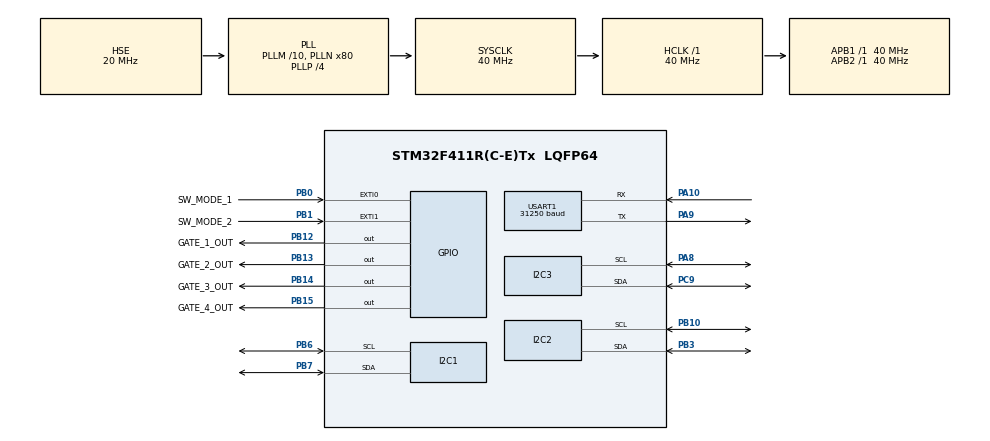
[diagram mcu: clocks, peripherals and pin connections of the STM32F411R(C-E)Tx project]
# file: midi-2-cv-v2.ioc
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I2C1.I2C_Mode=I2C_Fast
Mcu.Family=STM32F4
Mcu.Name=STM32F411R(C-E)Tx
Mcu.Package=LQFP64
NVIC.EXTI0_IRQn=true\:0\:0\:false\:false\:true\:true\:true\:true
NVIC.EXTI1_IRQn=true\:0\:0\:false\:false\:true\:true\:true\:true
NVIC.PriorityGroup=NVIC_PRIORITYGROUP_4
NVIC.RCC_IRQn=true\:0\:0\:false\:false\:true\:true\:false\:true
NVIC.USART1_IRQn=true\:0\:0\:false\:false\:true\:true\:true\:true
PA10.Mode=Asynchronous
PA10.Signal=USART1_RX
PA13.Mode=Serial_Wire
PA13.Signal=SYS_JTMS-SWDIO
PA14.Mode=Serial_Wire
PA14.Signal=SYS_JTCK-SWCLK
PA8.GPIO_Pu=GPIO_PULLUP
PA8.Mode=I2C
PA8.Signal=I2C3_SCL
PA9.Mode=Asynchronous
PA9.Signal=USART1_TX
PB0.GPIO_Label=SW_MODE_1
PB0.GPIO_ModeDefaultEXTI=GPIO_MODE_IT_FALLING
PB0.GPIO_PuPd=GPIO_PULLUP
PB0.Signal=GPXTI0
PB1.GPIO_Label=SW_MODE_2
PB1.GPIO_ModeDefaultEXTI=GPIO_MODE_IT_FALLING
PB1.GPIO_PuPd=GPIO_PULLUP
PB1.Signal=GPXTI1
PB10.GPIO_Pu=GPIO_PULLUP
PB10.Mode=I2C
PB10.Signal=I2C2_SCL
PB12.GPIO_Label=GATE_1_OUT
PB12.GPIO_Speed=GPIO_SPEED_FREQ_MEDIUM
PB12.Signal=GPIO_Output
PB13.GPIO_Label=GATE_2_OUT
PB13.Signal=GPIO_Output
PB14.GPIO_Label=GATE_3_OUT
PB14.Signal=GPIO_Output
PB15.GPIO_Label=GATE_4_OUT
PB15.Signal=GPIO_Output
PB3.GPIO_Pu=GPIO_PULLUP
PB3.Mode=I2C
PB3.Signal=I2C2_SDA
PB6.GPIO_Pu=GPIO_PULLUP
PB6.Mode=I2C
PB6.Signal=I2C1_SCL
PB7.GPIO_Pu=GPIO_PULLUP
PB7.Mode=I2C
PB7.Signal=I2C1_SDA
PC9.GPIO_Pu=GPIO_PULLUP
PC9.Mode=I2C
PC9.Signal=I2C3_SDA
PH0\ -\ OSC_IN.Mode=HSE-External-Oscillator
PH0\ -\ OSC_IN.Signal=RCC_OSC_IN
PH1\ -\ OSC_OUT.Mode=HSE-External-Oscillator
PH1\ -\ OSC_OUT.Signal=RCC_OSC_OUT
ProjectManager.HeapSize=0x200
ProjectManager.StackSize=0x400
ProjectManager.TargetToolchain=STM32CubeIDE
RCC.48MHZClocksFreq_Value=40000000
RCC.AHBFreq_Value=40000000
RCC.APB1Freq_Value=40000000
RCC.APB1TimFreq_Value=40000000
RCC.APB2Freq_Value=40000000
RCC.APB2TimFreq_Value=40000000
RCC.CortexFreq_Value=40000000
RCC.HCLKFreq_Value=40000000
RCC.HSE_VALUE=20000000
RCC.HSI_VALUE=16000000
RCC.LSE_VALUE=32768
RCC.PLLM=10
RCC.PLLN=80
RCC.PLLP=RCC_PLLP_DIV4
RCC.PLLSourceVirtual=RCC_PLLSOURCE_HSE
RCC.SYSCLKFreq_VALUE=40000000
RCC.SYSCLKSource=RCC_SYSCLKSOURCE_PLLCLK
RCC.VCOOutputFreq_Value=160000000
USART1.BaudRate=31250
USART1.Mode=MODE_TX_RX
USART1.VirtualMode=VM_ASYNC
VP_RTC_VS_RTC_Activate.Mode=RTC_Enabled
VP_TIM1_VS_ClockSourceINT.Mode=Internal
board=custom

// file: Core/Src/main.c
/* USER CODE BEGIN Header */
/**
  ******************************************************************************
  * @file           : main.c
  * @brief          : Main program body
  ******************************************************************************
  * @attention
  *
  * Copyright (c) 2025 STMicroelectronics.
  * All rights reserved.
  *
  * This software is licensed under terms that can be found in the LICENSE file
  * in the root directory of this software component.
  * If no LICENSE file comes with this software, it is provided AS-IS.
  *
  ******************************************************************************
  */
/* USER CODE END Header */
#include "main.h"

/* USER CODE BEGIN Includes */
#include <sys/types.h>

#include "app/mcp4728.h"
#include "app/midi_handler.h"
#include "app/midi_processor.h"

/* USER CODE END Includes */

I2C_HandleTypeDef hi2c1;
I2C_HandleTypeDef hi2c2;
I2C_HandleTypeDef hi2c3;

RTC_HandleTypeDef hrtc;

TIM_HandleTypeDef htim1;

UART_HandleTypeDef huart1;

/* USER CODE BEGIN PV */

uint8_t midi_received_buf;
struct MIDI_PROCESSOR_config midi_processor_config;

/* USER CODE END PV */

void SystemClock_Config(void);
static void MX_GPIO_Init(void);
static void MX_I2C1_Init(void);
static void MX_I2C2_Init(void);
static void MX_I2C3_Init(void);
static void MX_USART1_UART_Init(void);
static void MX_RTC_Init(void);
static void MX_TIM1_Init(void);

/* USER CODE BEGIN 0 */

/*
 * This is the interrupt handler. Make sure that the USART global interrupt is enabled in the IOC
 */
void HAL_UART_RxCpltCallback(UART_HandleTypeDef* huart)
{
    if (huart->Instance == huart1.Instance)
    {
        MIDI_HANDLER_push_buffer(&midi_received_buf);
        HAL_UART_Receive_IT(&huart1, &midi_received_buf, 1);
    }
}

void HAL_GPIO_EXTI_Callback(uint16_t GPIO_Pin)
{
    MIDI_PROCESSOR_mode_changed();

    if (EXTI->PR & EXTI_PR_PR0)
    {
        // Clear the EXTI pending bit
        EXTI->PR = EXTI_PR_PR0;
    }
}

/* USER CODE END 0 */

int main(void)
{

  /* MCU Configuration--------------------------------------------------------*/

  /* Reset of all peripherals, Initializes the Flash interface and the Systick. */
  HAL_Init();

  /* Configure the system clock */
  SystemClock_Config();

  /* Initialize all configured peripherals */
  MX_GPIO_Init();
  MX_I2C1_Init();
  MX_I2C2_Init();
  MX_I2C3_Init();
  MX_USART1_UART_Init();
  MX_RTC_Init();
  MX_TIM1_Init();
  /* USER CODE BEGIN 2 */

    // Delay to let things settle before user init
    HAL_Delay(250);

    /*
     * Initialize all the I2C devices for DAC
    */
    if (HAL_I2C_Init(&hi2c1) != HAL_OK)
    {
        Error_Handler();
    }
    if (HAL_I2C_Init(&hi2c2) != HAL_OK)
    {
        Error_Handler();
    }
    if (HAL_I2C_Init(&hi2c3) != HAL_OK)
    {
        Error_Handler();
    }

    /*
     * Set up the MIDI Handler that will process all incoming MIDI messages and convert them into MIDI events
     */
    Buffer rx_buffer;

    struct MIDI_HANDLER_config midi_handler_config;
    midi_handler_config.buffer = &rx_buffer;

    MIDI_HANDLER_init(&midi_handler_config);

    /*
     * Set up the MIDI Processor, that will convert the midi event into output over the DAC/Gates
     */
    midi_processor_config.cv_dac1 = &hi2c1;
    midi_processor_config.vel_dac2 = &hi2c2;
    midi_processor_config.mod_dac3 = &hi2c3;
    midi_processor_config.mode = MIDI_MODE_POLY;
    midi_processor_config.available_channels = 0b00001111;

    MIDI_PROCESSOR_init(&midi_processor_config);

  /* USER CODE END 2 */

  /* Infinite loop */
  /* USER CODE BEGIN WHILE */

    // Start the first receive operation
    HAL_UART_Receive_IT(&huart1, &midi_received_buf, 1);

    // Delay to let things set up
    HAL_Delay(250);

    MIDI_PROCESSOR_mode_changed();

    HAL_Delay(10);

    while (1)
    {
        // initialize a midi_event
        MIDI_event midi_event;

    /* USER CODE END WHILE */

    /* USER CODE BEGIN 3 */

        // if there is an event
        if (MIDI_HANDLER_get_event(&midi_event) > 0)
        {
            // process the midi event
            MIDI_PROCESSOR_handle_event(&midi_event);
            // short delay to ensure all events got settled
            HAL_Delay(1);
        }
    }
  /* USER CODE END 3 */
}

void SystemClock_Config(void)
{
  RCC_OscInitTypeDef RCC_OscInitStruct = {0};
  RCC_ClkInitTypeDef RCC_ClkInitStruct = {0};

  /** Configure the main internal regulator output voltage
  */
  __HAL_RCC_PWR_CLK_ENABLE();
  __HAL_PWR_VOLTAGESCALING_CONFIG(PWR_REGULATOR_VOLTAGE_SCALE1);

  /** Initializes the RCC Oscillators according to the specified parameters
  * in the RCC_OscInitTypeDef structure.
  */
  RCC_OscInitStruct.OscillatorType = RCC_OSCILLATORTYPE_LSI|RCC_OSCILLATORTYPE_HSE;
  RCC_OscInitStruct.HSEState = RCC_HSE_ON;
  RCC_OscInitStruct.LSIState = RCC_LSI_ON;
  RCC_OscInitStruct.PLL.PLLState = RCC_PLL_ON;
  RCC_OscInitStruct.PLL.PLLSource = RCC_PLLSOURCE_HSE;
  RCC_OscInitStruct.PLL.PLLM = 10;
  RCC_OscInitStruct.PLL.PLLN = 80;
  RCC_OscInitStruct.PLL.PLLP = RCC_PLLP_DIV4;
  RCC_OscInitStruct.PLL.PLLQ = 4;
  if (HAL_RCC_OscConfig(&RCC_OscInitStruct) != HAL_OK)
  {
    Error_Handler();
  }

  /** Initializes the CPU, AHB and APB buses clocks
  */
  RCC_ClkInitStruct.ClockType = RCC_CLOCKTYPE_HCLK|RCC_CLOCKTYPE_SYSCLK
                              |RCC_CLOCKTYPE_PCLK1|RCC_CLOCKTYPE_PCLK2;
  RCC_ClkInitStruct.SYSCLKSource = RCC_SYSCLKSOURCE_PLLCLK;
  RCC_ClkInitStruct.AHBCLKDivider = RCC_SYSCLK_DIV1;
  RCC_ClkInitStruct.APB1CLKDivider = RCC_HCLK_DIV1;
  RCC_ClkInitStruct.APB2CLKDivider = RCC_HCLK_DIV1;

  if (HAL_RCC_ClockConfig(&RCC_ClkInitStruct, FLASH_LATENCY_1) != HAL_OK)
  {
    Error_Handler();
  }
}

static void MX_I2C1_Init(void)
{

  hi2c1.Instance = I2C1;
  hi2c1.Init.ClockSpeed = 400000;
  hi2c1.Init.DutyCycle = I2C_DUTYCYCLE_2;
  hi2c1.Init.OwnAddress1 = 0;
  hi2c1.Init.AddressingMode = I2C_ADDRESSINGMODE_7BIT;
  hi2c1.Init.DualAddressMode = I2C_DUALADDRESS_DISABLE;
  hi2c1.Init.OwnAddress2 = 0;
  hi2c1.Init.GeneralCallMode = I2C_GENERALCALL_DISABLE;
  hi2c1.Init.NoStretchMode = I2C_NOSTRETCH_DISABLE;
  if (HAL_I2C_Init(&hi2c1) != HAL_OK)
  {
    Error_Handler();
  }

}

static void MX_I2C2_Init(void)
{

  hi2c2.Instance = I2C2;
  hi2c2.Init.ClockSpeed = 100000;
  hi2c2.Init.DutyCycle = I2C_DUTYCYCLE_2;
  hi2c2.Init.OwnAddress1 = 0;
  hi2c2.Init.AddressingMode = I2C_ADDRESSINGMODE_7BIT;
  hi2c2.Init.DualAddressMode = I2C_DUALADDRESS_DISABLE;
  hi2c2.Init.OwnAddress2 = 0;
  hi2c2.Init.GeneralCallMode = I2C_GENERALCALL_DISABLE;
  hi2c2.Init.NoStretchMode = I2C_NOSTRETCH_DISABLE;
  if (HAL_I2C_Init(&hi2c2) != HAL_OK)
  {
    Error_Handler();
  }

}

static void MX_I2C3_Init(void)
{

  hi2c3.Instance = I2C3;
  hi2c3.Init.ClockSpeed = 100000;
  hi2c3.Init.DutyCycle = I2C_DUTYCYCLE_2;
  hi2c3.Init.OwnAddress1 = 0;
  hi2c3.Init.AddressingMode = I2C_ADDRESSINGMODE_7BIT;
  hi2c3.Init.DualAddressMode = I2C_DUALADDRESS_DISABLE;
  hi2c3.Init.OwnAddress2 = 0;
  hi2c3.Init.GeneralCallMode = I2C_GENERALCALL_DISABLE;
  hi2c3.Init.NoStretchMode = I2C_NOSTRETCH_DISABLE;
  if (HAL_I2C_Init(&hi2c3) != HAL_OK)
  {
    Error_Handler();
  }

}

static void MX_RTC_Init(void)
{

  /** Initialize RTC Only
  */
  hrtc.Instance = RTC;
  hrtc.Init.HourFormat = RTC_HOURFORMAT_24;
  hrtc.Init.AsynchPrediv = 127;
  hrtc.Init.SynchPrediv = 255;
  hrtc.Init.OutPut = RTC_OUTPUT_DISABLE;
  hrtc.Init.OutPutPolarity = RTC_OUTPUT_POLARITY_HIGH;
  hrtc.Init.OutPutType = RTC_OUTPUT_TYPE_OPENDRAIN;
  if (HAL_RTC_Init(&hrtc) != HAL_OK)
  {
    Error_Handler();
  }

}

static void MX_TIM1_Init(void)
{

  TIM_ClockConfigTypeDef sClockSourceConfig = {0};
  TIM_MasterConfigTypeDef sMasterConfig = {0};

  htim1.Instance = TIM1;
  htim1.Init.Prescaler = 0;
  htim1.Init.CounterMode = TIM_COUNTERMODE_UP;
  htim1.Init.Period = 65535;
  htim1.Init.ClockDivision = TIM_CLOCKDIVISION_DIV1;
  htim1.Init.RepetitionCounter = 0;
  htim1.Init.AutoReloadPreload = TIM_AUTORELOAD_PRELOAD_DISABLE;
  if (HAL_TIM_Base_Init(&htim1) != HAL_OK)
  {
    Error_Handler();
  }
  sClockSourceConfig.ClockSource = TIM_CLOCKSOURCE_INTERNAL;
  if (HAL_TIM_ConfigClockSource(&htim1, &sClockSourceConfig) != HAL_OK)
  {
    Error_Handler();
  }
  sMasterConfig.MasterOutputTrigger = TIM_TRGO_RESET;
  sMasterConfig.MasterSlaveMode = TIM_MASTERSLAVEMODE_DISABLE;
  if (HAL_TIMEx_MasterConfigSynchronization(&htim1, &sMasterConfig) != HAL_OK)
  {
    Error_Handler();
  }

}

static void MX_USART1_UART_Init(void)
{

  huart1.Instance = USART1;
  huart1.Init.BaudRate = 31250;
  huart1.Init.WordLength = UART_WORDLENGTH_8B;
  huart1.Init.StopBits = UART_STOPBITS_1;
  huart1.Init.Parity = UART_PARITY_NONE;
  huart1.Init.Mode = UART_MODE_TX_RX;
  huart1.Init.HwFlowCtl = UART_HWCONTROL_NONE;
  huart1.Init.OverSampling = UART_OVERSAMPLING_16;
  if (HAL_UART_Init(&huart1) != HAL_OK)
  {
    Error_Handler();
  }
  /* USER CODE BEGIN USART1_Init 2 */

    // Enable USART2 interrupt
    HAL_NVIC_EnableIRQ(USART2_IRQn);

    // Enable UART receive interrupt
    __HAL_UART_ENABLE_IT(&huart1, UART_IT_RXNE);

  /* USER CODE END USART1_Init 2 */

}

static void MX_GPIO_Init(void)
{
  GPIO_InitTypeDef GPIO_InitStruct = {0};

  /* GPIO Ports Clock Enable */
  __HAL_RCC_GPIOH_CLK_ENABLE();
  __HAL_RCC_GPIOB_CLK_ENABLE();
  __HAL_RCC_GPIOC_CLK_ENABLE();
  __HAL_RCC_GPIOA_CLK_ENABLE();

  /*Configure GPIO pin Output Level */
  HAL_GPIO_WritePin(GPIOB, GATE_1_OUT_Pin|GATE_2_OUT_Pin|GATE_3_OUT_Pin|GATE_4_OUT_Pin, GPIO_PIN_RESET);

  /*Configure GPIO pins : SW_MODE_1_Pin SW_MODE_2_Pin */
  GPIO_InitStruct.Pin = SW_MODE_1_Pin|SW_MODE_2_Pin;
  GPIO_InitStruct.Mode = GPIO_MODE_IT_RISING_FALLING;
  GPIO_InitStruct.Pull = GPIO_PULLUP;
  HAL_GPIO_Init(GPIOB, &GPIO_InitStruct);

  /*Configure GPIO pin : GATE_1_OUT_Pin */
  GPIO_InitStruct.Pin = GATE_1_OUT_Pin;
  GPIO_InitStruct.Mode = GPIO_MODE_OUTPUT_PP;
  GPIO_InitStruct.Pull = GPIO_NOPULL;
  GPIO_InitStruct.Speed = GPIO_SPEED_FREQ_MEDIUM;
  HAL_GPIO_Init(GATE_1_OUT_GPIO_Port, &GPIO_InitStruct);

  /*Configure GPIO pins : GATE_2_OUT_Pin GATE_3_OUT_Pin GATE_4_OUT_Pin */
  GPIO_InitStruct.Pin = GATE_2_OUT_Pin|GATE_3_OUT_Pin|GATE_4_OUT_Pin;
  GPIO_InitStruct.Mode = GPIO_MODE_OUTPUT_PP;
  GPIO_InitStruct.Pull = GPIO_NOPULL;
  GPIO_InitStruct.Speed = GPIO_SPEED_FREQ_LOW;
  HAL_GPIO_Init(GPIOB, &GPIO_InitStruct);

  /* EXTI interrupt init*/
  HAL_NVIC_SetPriority(EXTI0_IRQn, 0, 0);
  HAL_NVIC_EnableIRQ(EXTI0_IRQn);

  HAL_NVIC_SetPriority(EXTI1_IRQn, 0, 0);
  HAL_NVIC_EnableIRQ(EXTI1_IRQn);

}

void Error_Handler(void)
{
    __disable_irq();
    while (1)
    {
    }
}
